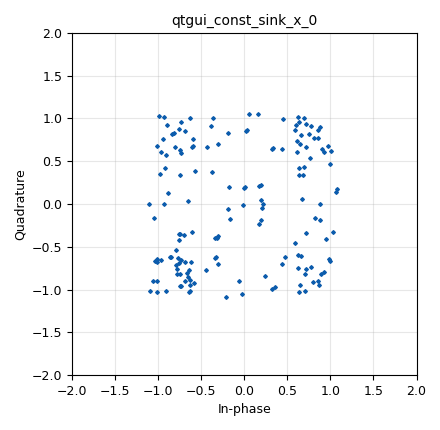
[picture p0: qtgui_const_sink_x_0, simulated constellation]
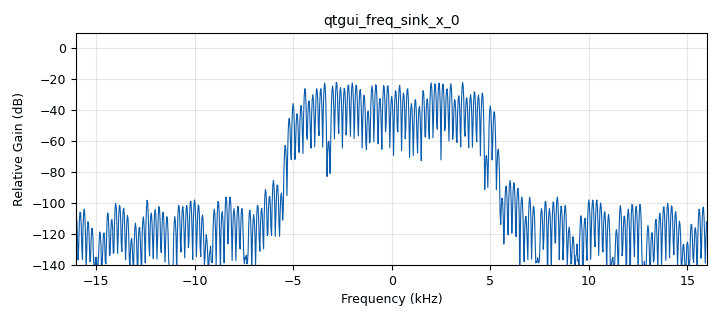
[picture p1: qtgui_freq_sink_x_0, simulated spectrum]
options:
  parameters:
    author: gurrutchalla
    generate_options: qt_gui
    id: untitled4
    output_language: python
    title: Not titled yet
  states: {}

blocks:
- name: Bandwidth
  id: variable_qtgui_range
  parameters:
    start: 1.5e6
    step: '100'
    stop: 28e6
    value: 4e6
  states: {}
- name: Frequency
  id: variable_qtgui_range
  parameters:
    start: 300e6
    step: '1000'
    stop: 3800e6
    value: 870e6
  states: {}
- name: RF_Gain
  id: variable_qtgui_range
  parameters:
    start: '0'
    step: '1'
    stop: '40'
    value: '10'
  states: {}
- name: center_freq
  id: variable
  parameters:
    value: 85e6
  states: {}
- name: excess_bw
  id: variable
  parameters:
    value: '0.35'
  states: {}
- name: qpsk
  id: variable_constellation_rect
  parameters:
    const_points: '[+0.7071+0.7071j, -0.7071+0.7071j, -0.7071-0.7071j, 0.7071-0.7071j]'
    imag_sect: '2'
    real_sect: '2'
    rot_sym: '4'
    sym_map: '[0, 1, 3, 2]'
    w_imag_sect: '1'
    w_real_sect: '1'
  states: {}
- name: samp_rate
  id: variable
  parameters:
    value: '32000'
  states: {}
- name: samp_rate_bladeRF
  id: variable
  parameters:
    value: 4e6
  states: {}
- name: sps
  id: variable
  parameters:
    value: '4'
  states: {}
- name: analog_random_source_x_0
  id: analog_random_source_x
  parameters:
    max: '255'
    min: '0'
    num_samps: '10'
    repeat: 'True'
    type: byte
  states: {}
- name: analog_sig_source_x_0
  id: analog_sig_source_x
  parameters:
    amp: '1'
    freq: '1000'
    offset: '0'
    phase: '0'
    samp_rate: samp_rate
    type: byte
    waveform: analog.GR_COS_WAVE
  states: {state: disabled}
- name: bladeRF_sink_0
  id: bladeRF_sink
  parameters:
    bias_tee0: 'False'
    bias_tee1: 'False'
    bw: 4e6
    dac: '10000'
    dc_calibration: LPF_TUNING
    device_id: '0'
    fpga_image: ''
    fpga_reload: 'False'
    freq: 1e9
    gain0: '10'
    gain1: '10'
    if_gain0: '20'
    if_gain1: '20'
    in_clk: ONBOARD
    lpf_mode: disabled
    metadata: 'False'
    nchan: '1'
    out_clk: 'False'
    ref_clk: 10e6
    sample_rate: 4e6
    sampling: internal
    show_pmic: 'False'
    smb: '0'
    tamer: internal
    trigger0: 'False'
    trigger1: 'False'
    trigger_role0: master
    trigger_role1: master
    trigger_signal0: J51_1
    trigger_signal1: J51_1
    use_dac: 'False'
    use_ref_clk: 'False'
    verbosity: verbose
    xb200: none
  states: {state: disabled}
- name: blocks_throttle_0
  id: blocks_throttle
  parameters:
    samples_per_second: samp_rate
    type: complex
  states: {state: disabled}
- name: digital_constellation_modulator_0
  id: digital_constellation_modulator
  parameters:
    constellation: qpsk
    differential: 'True'
    excess_bw: excess_bw
    samples_per_symbol: sps
    truncate: 'True'
  states: {}
- name: import_0
  id: import
  parameters:
    imports: import pmt
  states: {}
- name: osmosdr_sink_0
  id: osmosdr_sink
  parameters:
    args: bladerf=0
    bb_gain0: '20'
    bw0: Bandwidth
    freq0: Frequency
    gain0: RF_Gain
    if_gain0: '20'
    sample_rate: Bandwidth
    sync: sync
    type: fc32
  states: {state: disabled}
- name: osmosdr_sink_0_0
  id: osmosdr_sink
  parameters:
    args: bladerf=0,buffers=128,buflen=32768
    bb_gain0: '-18'
    bw0: '1500000'
    freq0: '473000000'
    gain0: '0'
    if_gain0: '0'
    sample_rate: '1500000'
    sync: sync
    type: fc32
  states: {}
- name: qtgui_const_sink_x_0
  id: qtgui_const_sink_x
  parameters:
    size: 1024*2
    type: complex
  states: {}
- name: qtgui_freq_sink_x_0
  id: qtgui_freq_sink_x
  parameters:
    bw: samp_rate
    fc: '0'
    fftsize: '1024'
    type: complex
  states: {}
- name: rational_resampler_xxx_0
  id: rational_resampler_xxx
  parameters:
    decim: '4000000'
    interp: '4'
    type: ccc
  states: {state: disabled}

connections:
- [analog_random_source_x_0, '0', digital_constellation_modulator_0, '0']
- [analog_sig_source_x_0, '0', digital_constellation_modulator_0, '0']
- [blocks_throttle_0, '0', qtgui_const_sink_x_0, '0']
- [blocks_throttle_0, '0', qtgui_freq_sink_x_0, '0']
- [digital_constellation_modulator_0, '0', blocks_throttle_0, '0']
- [digital_constellation_modulator_0, '0', osmosdr_sink_0_0, '0']
- [digital_constellation_modulator_0, '0', qtgui_const_sink_x_0, '0']
- [digital_constellation_modulator_0, '0', qtgui_freq_sink_x_0, '0']
- [digital_constellation_modulator_0, '0', rational_resampler_xxx_0, '0']
- [rational_resampler_xxx_0, '0', bladeRF_sink_0, '0']
- [rational_resampler_xxx_0, '0', osmosdr_sink_0, '0']
- [rational_resampler_xxx_0, '0', osmosdr_sink_0_0, '0']
- [rational_resampler_xxx_0, '0', qtgui_const_sink_x_0, '0']

metadata:
  file_format: 1
